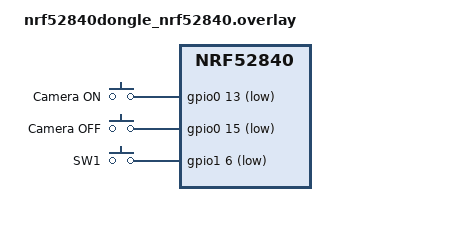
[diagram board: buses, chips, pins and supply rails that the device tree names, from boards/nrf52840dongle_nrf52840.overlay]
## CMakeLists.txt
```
cmake_minimum_required(VERSION 3.20.0)

find_package(Zephyr REQUIRED HINTS $ENV{ZEPHYR_BASE})
project(gopro_remote)

target_sources(app PRIVATE
	src/main.c
	src/ble_gopro.c
	src/ant_garmin.c
	src/temp_sensor.c
)
```

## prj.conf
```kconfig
# --- Bluetooth: CENTRAL role (we connect to the GoPro, we don't
#     advertise ourselves) ---
CONFIG_BT=y
CONFIG_BT_CENTRAL=y
CONFIG_BT_OBSERVER=y
CONFIG_BT_GATT_CLIENT=y
CONFIG_BT_SMP=y
#CONFIG_BT_LOG_LEVEL_DBG=y
#CONFIG_LOG_MODE_ASYNC=y

# Debug: turn silent __ASSERT_NO_MSG()/MPSL asserts into a real
# "ASSERTION FAIL @ file:line" message on the console instead of
# undefined behavior - see the bt_enable() hang investigation.
CONFIG_ASSERT=y

# Debug: hardware watchdog to auto-recover from (and confirm) a real
# CPU lockup in bt_enable(), plus hwinfo to log the reset cause.
CONFIG_WATCHDOG=y
#CONFIG_WDT_LOG_LEVEL_DBG=y
CONFIG_HWINFO=y

# Bonding (persistent pairing) - required to talk to the GoPro
CONFIG_BT_SIGNING=n
#CONFIG_BT_SETTINGS=y
CONFIG_FLASH=y
CONFIG_FLASH_PAGE_LAYOUT=y
CONFIG_FLASH_MAP=y
CONFIG_NVS=y
CONFIG_SETTINGS=y
CONFIG_BT_DEVICE_NAME="GoProRemote"
#CONFIG_BT_CENTRAL=y
#CONFIG_BT_SMP=y
CONFIG_BT_SMP_SC_PAIR_ONLY=n
#CONFIG_BT_SMP_LOG_LEVEL_DBG=y
CONFIG_BT_ID_UNPAIR_MATCHING_BONDS=y


#CONFIG_BT_HCI_CORE_LOG_LEVEL_DBG=y
#CONFIG_LOG_MODE_IMMEDIATE=y
#CONFIG_LOG_MODE_ASYNC=y

# Notify the app of the remote's LE feature set (populated from the
# Feature Exchange procedure - see connected()/remote_info_available()
# in ble_gopro.c) via the remote_info_available connection callback.
# Without this, the Feature Exchange still happens (it's mandatory LL
# behavior, handled entirely by the controller/host below any app
# code) but the result is silently discarded instead of reaching us.
CONFIG_BT_REMOTE_INFO=y

# d'apres Gemini :
#CONFIG_BT=y
#CONFIG_BT_CENTRAL=y
#CONFIG_BT_SMP=y
#CONFIG_BT_GATT_CLIENT=y
#CONFIG_BT_SMP_SC_PAIR_ONLY=n


# --- Only one BLE link active at a time: our GoPro ---
CONFIG_BT_MAX_CONN=1
CONFIG_BT_MAX_PAIRED=4

# --- GPIO (buttons) ---
CONFIG_GPIO=y

# --- ADC (thermistor / battery measurement later) ---
CONFIG_ADC=y

# --- Sensor subsystem (nRF52 internal die temperature) ---
CONFIG_SENSOR=y
CONFIG_TEMP_NRF5=y

# --- ANT+ (Garmin Edge temperature broadcast) ---
# Requires the sdk-ant add-on module in this workspace's west manifest
# (gated repo, ANT+ Adopter + GitHub org access needed - see
# doc/gopro_garmin_remote_specs.md, "ANT+ implementation notes"). Not
# fetchable from this dev sandbox (confirmed via `git ls-remote`, see
# ant_garmin.c) - add it to your own workspace manifest before building.


CONFIG_ANT=y
CONFIG_ANT_EVALUATION_KEY=y
# CONFIG_ANT_LIBRARY_CORE=y

# ANT+ Bicycle Speed and Cadence sensor bring-up (clone of the sdk-ant
# bsc_tx sample - see src/ant_garmin.c). These mirror the `select`s the
# sample does in its own Kconfig; needed here since this app has no such
# Kconfig. CONFIG_ANT_STATE_INDICATOR selects DK_LIBRARY (board LEDs).
CONFIG_ANT_BSC=y
CONFIG_ANT_BSC_SIMULATOR=y
CONFIG_ANT_KEY_MANAGER=y
CONFIG_ANT_CHANNEL_CONFIG=y
CONFIG_ANT_STATE_INDICATOR=y

# Free evaluation key: fine for prototyping/testing. Swap for
# CONFIG_ANT_LICENSE_KEY (paid, per-unit royalty) before shipping a
# commercial product - see the "Licensing & cost" section of the specs
# doc.
# CONFIG_ANT_EVALUATION_KEY=y

# --- Logs over the dongle's USB CDC-ACM port (handy for debugging) ---
#CONFIG_USB_DEVICE_STACK=y
CONFIG_USB_DEVICE_REMOTE_WAKEUP=n
CONFIG_USB_DEVICE_PRODUCT="My USB device"
CONFIG_USB_CDC_ACM=y
CONFIG_UART_LINE_CTRL=y
CONFIG_USB_DEVICE_PID=0x0001
#CONFIG_USB_CDC_ACM_LOG_LEVEL_OFF=y

CONFIG_LOG=y
# ant_garmin registers at LOG_LEVEL_DBG; CONFIG_LOG_MAX_LEVEL already
# defaults to 4 (DBG), so its DBG traces (RX page 0x02 bytes / caps,
# generic command TX) are emitted while every other module stays at the
# default INF level - no global DBG spam.

# --- Misc ---
CONFIG_MAIN_STACK_SIZE=4096
CONFIG_HEAP_MEM_POOL_SIZE=4096

CONFIG_SYSTEM_WORKQUEUE_STACK_SIZE=4096
CONFIG_MAIN_STACK_SIZE=4096
CONFIG_BT_RX_STACK_SIZE=2200
# Désactiver la Flash externe QSPI si non présente

CONFIG_MPU_ALLOW_FLASH_WRITE=y
# Désactiver la Flash externe QSPI si non présente
CONFIG_SPI=n
CONFIG_NORDIC_QSPI_NOR=n

# Forcer l'utilisation de la Flash Interne (Non-Volatile Storage)
CONFIG_SETTINGS_NVS=y
```

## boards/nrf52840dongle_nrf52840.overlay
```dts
/*
 * Overlay for nrf52840dongle_nrf52840 (PCA10059).
 *
 * IMPORTANT: the dongle only has ONE button wired at the factory (SW1,
 * used to enter DFU mode at boot) and an RGB LED - no extra user
 * buttons. For your 2 (then 5) buttons, you need to wire them yourself
 * on the castellated pads exposed on the edge of the board.
 *
 * The pins below (P0.13 and P0.15) are given as a common example used
 * in the nRF52840 Dongle community - CHECK THEM against the "Pin
 * assignment" section of the Nordic User Guide (nRF52840 Dongle,
 * PCA10059) before soldering anything, some pads are shared with the
 * USB D+/D- lines and MUST NOT be used as GPIO.
 */

/ {
	buttons {
		compatible = "gpio-keys";

		button_cam_on: button_cam_on {
			gpios = <&gpio0 13 (GPIO_PULL_UP | GPIO_ACTIVE_LOW)>;
			label = "Camera ON";
		};

		button_cam_off: button_cam_off {
			gpios = <&gpio0 15 (GPIO_PULL_UP | GPIO_ACTIVE_LOW)>;
			label = "Camera OFF";
		};
		/* BUTTON1 = SW1 = P1.06 (matches Zephyr's built-in sw0/button0 for this board) */
		button_sw1: button_sw1 {
			gpios = <&gpio1 6 (GPIO_PULL_UP | GPIO_ACTIVE_LOW)>;
			label = "SW1";
		};

		/* To add later, once the 3 Garmin buttons are wired:
		 * button_page_r, button_page_l, button_lap
		 */
	};

	aliases {
		sw-cam-on = &button_cam_on;
		sw-cam-off = &button_cam_off;
		sw1 = &button_sw1;
	};
};
```

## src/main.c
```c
/*
 * gopro_remote - bring-up firmware for the nRF52840 Dongle
 * ==========================================================
 *
 * This file owns the main finite-state machine: it wakes up on button
 * press, decides which action to run, and dispatches it to the
 * protocol-specific modules. It does not know about BLE or ANT+
 * internals - that logic lives in ble_gopro.[ch] (GoPro over BLE) and
 * ant_garmin.[ch] (Garmin Edge over ANT+, stub for now). temp_sensor.[ch]
 * provides the internal temperature reading; ant_garmin.c owns *when* to
 * read and broadcast it (a bounded, activity-triggered session - see
 * ant_garmin.h). main.c only reports "a button was pressed" via
 * ant_garmin_note_activity(), it does not manage the session itself.
 * This split keeps each radio protocol/sensor independently maintainable
 * and testable, and makes it straightforward to add a new module later
 * (e.g. a BLE peripheral "configuration service" for a companion mobile
 * app) without touching the others.
 *
 * What this firmware does (functional) :
 *   - Scans for and connects to a GoPro (filtering on the BLE service
 *     0xFEA6, advertised by Open GoPro compatible GoPros).
 *   - Performs bonding (secure pairing), required to talk to the
 *     GoPro. Keys are persisted to flash (CONFIG_SETTINGS), so
 *     subsequent connections won't need to re-pair.
 *   - Discovers the GP-0072/73 (Command/Response) and GP-0074/75
 *     (Query/Response) characteristics, subscribes to both.
 *   - Runs a small recording FSM (see the "Recording FSM" comment right
 *     above main()): "Camera ON"/"Camera OFF" (multi-button mode) or
 *     SW1 (mono-button toggle mode) drive it towards REC_ON/REC_OFF;
 *     the shutter=1/0 command is only sent on an actual on<->off
 *     transition, never repeated for an unchanged target, so it can't
 *     double-send the GoPro's confirmation beep. A ~1s status poll
 *     confirms the command took effect and also catches the camera
 *     being started/stopped manually (or disconnecting).
 *   - Buttons are debounced with a simple per-button cooldown.
 *
 * What this firmware does NOT do (to be added later) :
 *   - ANT+ (Garmin page right/left/lap buttons, and the temperature
 *     broadcast) : Nordic's Zephyr-based ANT+ add-on (`sdk-ant`) does
 *     support the nRF52832 used here (no chip change needed - see
 *     doc/gopro_garmin_remote_specs.md, "ANT+ implementation notes"),
 *     but getting ANT+ Adopter/GitHub access to the gated add-on repo
 *     and integrating its west workspace hasn't been done yet. Not
 *     included here. The Garmin buttons and the temperature broadcast
 *     are wired to stubs (see
 *     ant_garmin.c) in the meantime. The 3 Garmin buttons themselves
 *     are not wired to GPIOs/actions yet either (see README).
 *   - Fine-grained power management (System OFF between connections) :
 *     the dongle is USB-powered, so not critical for testing, but
 *     needs to be revisited for the final CR2032 version. Note this
 *     also now needs to account for the temperature broadcast session
 *     (see ant_garmin.h): while a session is active (up to
 *     TEMP_SESSION_DURATION_MIN minutes after the last button press),
 *     the MCU must wake periodically via its RTC/kernel timer to send
 *     a reading, so it cannot use full System OFF sleep during that
 *     window - only once the session ends does it go back to pure
 *     button-interrupt wake-up.
 *   - Battery voltage reading (ADC) : not wired on the bare dongle, to
 *     be added with the real enclosure. (Ambient temperature no longer
 *     needs a thermistor/ADC - see temp_sensor.c, which reads the
 *     nRF52's internal die temperature sensor instead.)
 *
 * Button GPIO pinout : see boards/nrf52840dongle_nrf52840.overlay
 */

#include <zephyr/kernel.h>
#include <zephyr/device.h>
#include <zephyr/devicetree.h>
#include <zephyr/drivers/gpio.h>
#include <zephyr/drivers/watchdog.h>
#include <zephyr/drivers/hwinfo.h>
#include <zephyr/logging/log.h>
#include <zephyr/settings/settings.h>

#include "ble_gopro.h"
#include "ant_garmin.h"
#include "temp_sensor.h"

//LOG_MODULE_REGISTER(gopro_remote, LOG_LEVEL_INF);
LOG_MODULE_REGISTER(gopro_remote, LOG_LEVEL_DBG);

/* -------------------------------------------------------------------
 * Buttons (gpio-keys via devicetree)
 * ------------------------------------------------------------------- */
#define BTN_CAM_ON_NODE  DT_ALIAS(sw_cam_on)
#define BTN_CAM_OFF_NODE DT_ALIAS(sw_cam_off)
#define BTN_SW1_NODE     DT_ALIAS(sw1)

/* Action queue processed outside of interrupt context. STATUS_TICK/
 * STATUS_RESULT are not button presses - see the status timer and
 * ble_gopro status callback further below - but they go through the
 * same queue so the FSM in main() stays single-threaded. */
enum rmt_event {
	EVENT_NONE = 0,
	EVENT_CAM_ON = 1,
	EVENT_CAM_OFF = 2,
	EVENT_BTN_SW1 = 3,
	EVENT_STATUS_TICK = 4,
	EVENT_STATUS_RES_CAM_ON = 5,
	EVENT_STATUS_RES_CAM_OFF = 6,
	EVENT_CAM_DISCOVERED = 7	, /* GoPro connected but not recording (e.g. just powered on) */
	EVENT_ANT_NEXT_PAGE = 8, /* SW1 short press -> ANT+ Controls "next page" (Menu Down) */
	EVENT_ANT_CUSTOM = 9,    /* SW1 long  press -> ANT+ Controls Custom (0x8000) */
};


 struct remote_msg {
        enum rmt_event action;
 };

K_MSGQ_DEFINE(action_msgq, sizeof(struct remote_msg), 8, 4);

/* -------------------------------------------------------------------
 * Buttons : ISR -> just posts an event to the queue, all the (BLE)
 * work happens in the main loop (normal thread).
 * ------------------------------------------------------------------- */



#define DEBOUNCE_MS 200
/* SW1 single-button: held >= LONG_PRESS_MS is a long press (Home),
 * otherwise a short press (next page). */
#define LONG_PRESS_MS 600
struct button {
	const struct gpio_dt_spec spec;
	enum rmt_event action;
	const char *name;
	struct gpio_callback cb;
	int64_t last_press_ms;
};

static   struct button btn_cam_on = {
	.spec = GPIO_DT_SPEC_GET(BTN_CAM_ON_NODE, gpios),
	.action = EVENT_CAM_ON,
	.name = "CAM_ON",
};
static  struct button btn_cam_off = {
	.spec = GPIO_DT_SPEC_GET(BTN_CAM_OFF_NODE, gpios),
	.action = EVENT_CAM_OFF,
	.name = "CAM_OFF",
};
static  struct button btn_sw1 = {
	.spec = GPIO_DT_SPEC_GET(BTN_SW1_NODE, gpios),
	.action = EVENT_BTN_SW1,
	.name = "SW1",
};

static void btn_isr(const struct device *dev, struct gpio_callback *cb, uint32_t pins)
{
	struct button *btn = CONTAINER_OF(cb, struct button, cb);
	int64_t now = k_uptime_get();

	if (now - btn->last_press_ms < DEBOUNCE_MS) {
		return; /* bounce (or a too-fast repeat press): ignore */
	}
	btn->last_press_ms = now;

	LOG_INF("Button %s pressed", btn->name);
	struct remote_msg msg = { .action = btn->action };

	k_msgq_put(&action_msgq, &msg, K_NO_WAIT);
}

/*
 * SW1 is the dongle's single user button. It needs short-vs-long press
 * discrimination:
 *   short press (< LONG_PRESS_MS) -> EVENT_ANT_NEXT_PAGE (Menu Down)
 *   long  press (>= LONG_PRESS_MS) -> EVENT_ANT_CUSTOM   (Custom 0x8000)
 *
 * Reading the pin level directly in the edge ISR is unreliable: contact
 * bounce produces bursts of edges, and a stray release edge used to clear
 * the press timestamp so the real release was dropped (long press missed).
 *
 * Instead the ISR only wakes a polling work item, which samples the button
 * every SW1_POLL_MS with a small debounce filter. The long press is emitted
 * as soon as the hold crosses LONG_PRESS_MS (even if the release bounces),
 * and the short press is emitted on a clean release. The ANT+ command is
 * sent from the main loop, not here.
 */
#define SW1_POLL_MS        20
#define SW1_STABLE_SAMPLES 2  /* consecutive equal reads to accept a level */

static void sw1_work_fn(struct k_work *work);
static K_WORK_DELAYABLE_DEFINE(sw1_work, sw1_work_fn);

static bool    sw1_down;        /* debounced pressed state */
static bool    sw1_long_fired;  /* HOME already emitted for this hold */
static int64_t sw1_down_ms;     /* uptime at debounced press */
static bool    sw1_raw_last;    /* last raw sample */
static int     sw1_stable_cnt;  /* consecutive equal raw samples */

static void sw1_post(enum rmt_event ev)
{
	struct remote_msg msg = { .action = ev };
	k_msgq_put(&action_msgq, &msg, K_NO_WAIT);
}

static void sw1_work_fn(struct k_work *work)
{
	ARG_UNUSED(work);
	bool raw = (gpio_pin_get_dt(&btn_sw1.spec) == 1); /* 1 = pressed */

	/* Debounce: require SW1_STABLE_SAMPLES equal raw reads in a row. */
	if (raw == sw1_raw_last) {
		if (sw1_stable_cnt < SW1_STABLE_SAMPLES) {
			sw1_stable_cnt++;
		}
	} else {
		sw1_raw_last = raw;
		sw1_stable_cnt = 0;
	}

	if (sw1_stable_cnt >= SW1_STABLE_SAMPLES && raw != sw1_down) {
		sw1_down = raw; /* debounced edge */
		if (sw1_down) {
			sw1_down_ms = k_uptime_get();
			sw1_long_fired = false;
		} else if (!sw1_long_fired) {
			sw1_post(EVENT_ANT_NEXT_PAGE); /* clean short release */
		}
	}

	/* Long press fires at the threshold, while still held. */
	if (sw1_down && !sw1_long_fired &&
	    (k_uptime_get() - sw1_down_ms) >= LONG_PRESS_MS) {
		sw1_long_fired = true;
		sw1_post(EVENT_ANT_CUSTOM);
	}

	/* Keep polling while pressed or not yet settled in the released state. */
	if (sw1_down || raw || sw1_stable_cnt < SW1_STABLE_SAMPLES) {
		k_work_schedule(&sw1_work, K_MSEC(SW1_POLL_MS));
	}
}

static void sw1_isr(const struct device *dev, struct gpio_callback *cb, uint32_t pins)
{
	ARG_UNUSED(dev);
	ARG_UNUSED(cb);
	ARG_UNUSED(pins);
	/* Just wake the poller; all logic lives in sw1_work_fn. */
	k_work_schedule(&sw1_work, K_NO_WAIT);
}

static int setup_sw1_button(void)
{
	int err;

	if (!gpio_is_ready_dt(&btn_sw1.spec)) {
		LOG_ERR("Button %s GPIO not ready", btn_sw1.name);
		return -ENODEV;
	}

	err = gpio_pin_configure_dt(&btn_sw1.spec, GPIO_INPUT);
	err |= gpio_pin_interrupt_configure_dt(&btn_sw1.spec, GPIO_INT_EDGE_BOTH);
	if (err) {
		LOG_ERR("Button %s GPIO configuration failed (%d)", btn_sw1.name, err);
		return err;
	}

	gpio_init_callback(&btn_sw1.cb, sw1_isr, BIT(btn_sw1.spec.pin));
	gpio_add_callback(btn_sw1.spec.port, &btn_sw1.cb);
	return 0;
}

static int setup_one_button( struct button *btn)
{
	int err;

	if (!gpio_is_ready_dt(&btn->spec)) {
		LOG_ERR("Button %s GPIO not ready", btn->name);
		return -ENODEV;
	}

	err = gpio_pin_configure_dt(&btn->spec, GPIO_INPUT);
	err |= gpio_pin_interrupt_configure_dt(&btn->spec, GPIO_INT_EDGE_TO_ACTIVE);
	if (err) {
		LOG_ERR("Button %s GPIO configuration failed (%d)", btn->name, err);
		return err;
	}

	gpio_init_callback(&btn->cb, btn_isr, BIT(btn->spec.pin));
	gpio_add_callback(btn->spec.port, &btn->cb);
	return 0;
}



static int setup_buttons(void)
{
	int err  = 0;
	err |= setup_one_button(&btn_cam_on);
	err |= setup_one_button(&btn_cam_off);
	err |= setup_sw1_button(); /* SW1: short/long press -> ANT+ commands */
	return err;
}

/* -------------------------------------------------------------------
 * ~1s status poll timer and ble_gopro status callback: both just post
 * to the action queue, all the FSM logic lives in main()'s loop below.
 * k_timer expiry and the BT RX thread are not the main thread, so this
 * is all they're allowed to do.
 * ------------------------------------------------------------------- */


static void status_timer_handler(struct k_timer *timer)
{
	struct remote_msg msg = { .action = EVENT_STATUS_TICK };
	//LOG_DBG("TTT isr");
	k_msgq_put(&action_msgq, &msg, K_NO_WAIT);
}


K_TIMER_DEFINE(status_timer, status_timer_handler, NULL);

static void on_gopro_status(enum gopro_rec_state status)
{
	LOG_DBG("on_gopro_status: status=%d", status);
	struct remote_msg msg = { 0 };
	switch (status) {
		case GOPRO_REC_STARTED:
			msg.action = EVENT_STATUS_RES_CAM_ON;
			break;
		case GOPRO_REC_STOPPED:
			msg.action = EVENT_STATUS_RES_CAM_OFF;
			break;
		case GOPRO_REC_DISCOVERED:
			msg.action = EVENT_CAM_DISCOVERED;
			break;
		case GOPRO_REC_UNKNOWN:
			LOG_DBG("on_gopro_status: GOPRO_REC_UNKNOWN - ignoring");
			return;
		default:
			LOG_ERR("on_gopro_status: unknown status %d", status);
			return;
	}
	k_msgq_put(&action_msgq, &msg, K_NO_WAIT);
}

/*
 * Recording FSM states (the whole FSM lives in main()'s loop below):
 *   REC_OFF      - not recording, idle.
 *   REC_ON_SENT  - "start recording" sent, waiting for the camera to
 *                  confirm it (via the ~1s status poll).
 *   REC_ON       - camera confirmed it is recording.
 *   REC_OFF_SENT - "stop recording" sent, waiting for confirmation.
 * No other state is needed: ON_SENT/OFF_SENT only exist to remember
 * "a command is outstanding" so a same-direction button press can be
 * ignored (that's what stops the BLE "start recording" command from
 * ever being sent twice in a row, which is what makes the camera beep
 * an extra time) - REC_ON/REC_ON_SENT together mean "target: on",
 * REC_OFF/REC_OFF_SENT together mean "target: off".
 */
enum rec_state {
	REC_UNKNOWN = 0,
	REC_OFF,
	REC_ON_SENT,
	REC_ON,
	REC_OFF_SENT,
};

/* from blinky */


/* 1000 msec = 1 sec */
#define SLEEP_TIME_MS   1000

/* The devicetree node identifier for the "led0" alias. */
#define LED0_NODE DT_ALIAS(led0)

/*
 * A build error on this line means your board is unsupported.
 * See the sample documentation for information on how to fix this.
 */
static const struct gpio_dt_spec led = GPIO_DT_SPEC_GET(LED0_NODE, gpios);

/* Hardware watchdog: an independent peripheral that keeps counting
 * down even if the CPU truly locks up (fault-in-fault, IRQs wedged
 * off, etc.) - the one thing that can still recover us and tell us
 * something when even the fatal-error handler can't print anything.
 * Armed with a long window, then deliberately NOT fed across the
 * ble_gopro_init()/bt_enable() call: if that call locks up, the
 * watchdog fires on its own a few seconds later and resets the chip. */
static const struct device *const wdt = DEVICE_DT_GET(DT_ALIAS(watchdog0));
static int wdt_channel_id = -1;

static void log_reset_cause(void)
{
	uint32_t cause = 0;

	if (hwinfo_get_reset_cause(&cause) == 0) {
		LOG_INF("Reset cause: 0x%08x%s", cause,
			(cause & RESET_WATCHDOG) ? " <-- WATCHDOG: previous boot locked up here!" : "");
		hwinfo_clear_reset_cause();
	} else {
		LOG_WRN("hwinfo_get_reset_cause() failed");
	}
}

static void watchdog_arm(void)
{
	if (!device_is_ready(wdt)) {
		LOG_WRN("Watchdog device not ready - no lockup recovery this run");
		return;
	}

	struct wdt_timeout_cfg wdt_cfg = {
		.window.min = 0,
		.window.max = 5000, /* must be fed at least every 5s */
		.callback = NULL,
		.flags = WDT_FLAG_RESET_SOC,
	};

	wdt_channel_id = wdt_install_timeout(wdt, &wdt_cfg);
	if (wdt_channel_id < 0) {
		LOG_ERR("wdt_install_timeout() failed (%d)", wdt_channel_id);
		return;
	}
	if (wdt_setup(wdt, 0) != 0) {
		LOG_ERR("wdt_setup() failed");
		wdt_channel_id = -1;
	}
}

static void watchdog_feed(void)
{
	if (wdt_channel_id >= 0) {
		wdt_feed(wdt, wdt_channel_id);
	}
}

/* Heartbeat: fast LED toggle while a blocking init call (e.g.
 * ble_gopro_init()/bt_enable()) is in progress. No debugger/console
 * available on the bare dongle, so this is how we tell "it's still
 * alive and hasn't returned yet" from "it froze/hard-faulted right
 * here": if this stops toggling and NEVER resumes (no fatal() blink
 * pattern ever starts either), the crash happened inside that call. */
static void heartbeat_handler(struct k_timer *timer)
{
	gpio_pin_toggle_dt(&led);
}
K_TIMER_DEFINE(heartbeat_timer, heartbeat_handler, NULL);

/* Halts and blinks the LED abs(code) times (capped), pausing between
 * repeats, so the code can be read off by counting blinks - no
 * debugger/console needed. Distinguishable from the heartbeat above
 * because of the long pause between bursts. */
static void fatal(int code)
{
	LOG_ERR("Fatal error %d - halting", code);

	int blinks = code < 0 ? -code : code;
	if (blinks == 0) {
		blinks = 1;
	}
	if (blinks > 20) {
		blinks = 20;
	}

	while (1) {
		for (int i = 0; i < blinks; i++) {
			watchdog_feed(); /* fatal() is a deliberate halt, not a
					   * real lockup - don't let the watchdog
					   * reset us out of it. */
			gpio_pin_set_dt(&led, 1);
			k_msleep(200);
			gpio_pin_set_dt(&led, 0);
			k_msleep(200);
		}
		k_msleep(1500);
	}
}
/* -------------------------------------------------------------------
 * main - button/action finite-state machine
 * ------------------------------------------------------------------- */
int main(void)
{
	int err;

	log_reset_cause();

	LOG_INF("=== GoPro Remote (nRF52840 Dongle) - starting ===");

	if (!gpio_is_ready_dt(&led)) {
		LOG_ERR("LED GPIO not ready");
		fatal(1);
	}
	err = gpio_pin_configure_dt(&led, GPIO_OUTPUT_INACTIVE);
	if (err < 0) {
		LOG_ERR("LED GPIO configuration failed (%d)", err);
		fatal(2);
	}

	if ((0)) watchdog_arm();

	/* LED toggles here independently of LOG_INF, so it keeps proving
	 * the CPU is alive even if the console/USB link itself stalls
	 * (e.g. CDC ACM backpressure) and stops printing. */
	const int startup_blink_count = 2;	
	for (int i=0; i<startup_blink_count; i++) {
		watchdog_feed();
		gpio_pin_toggle_dt(&led);
		LOG_INF("=== GoPro Remote (nRF52840 Dongle) - starting (%d/%d) ***", i, startup_blink_count);
		k_msleep(1000);
	}
	LOG_INF("compile date: %s", __DATE__);


	
	LOG_INF("=== config BLE---->");

/*
	err = settings_subsys_init();
	if (err) {
		LOG_ERR("settings_subsys_init() failed (%d)", err);
		fatal(err);
	}
*/	
	watchdog_feed(); /* last feed before the risky call - deliberately
			   * not fed again until it returns, so a lockup in
			   * here forces a watchdog reset within ~5s. */
	k_timer_start(&heartbeat_timer, K_MSEC(150), K_MSEC(150));
	err = ble_gopro_init();
	LOG_INF("=== config BLE done, err=%d", err);

	k_timer_stop(&heartbeat_timer);
	watchdog_feed();

	if (err) {
		LOG_ERR("ble_gopro_init() failed (%d)", err);
		fatal(err);
	}
	//fatal(420);

	err = setup_buttons();
	if (err) {
		LOG_ERR("Aborting: buttons not functional");
		fatal(3);
	}
	LOG_INF("**** ANT init");
	ant_garmin_init();

	LOG_INF("**** temp_sensor init");

	err = temp_sensor_init();
	if (err) {
		LOG_WRN("Internal temperature sensor unavailable (%d)", err);
	}
	LOG_INF("**** ANT init done");


	ble_gopro_set_status_cb(on_gopro_status);
	//k_timer_init(&status_timer, status_timer_handler, NULL);
	//LOG_DBG("TTT Starting status timer (1s period)");
	//k_timer_start(&status_timer, K_SECONDS(1), K_SECONDS(1));

	enum rec_state rec_state = REC_UNKNOWN; /* start unknown, will be set by the first status poll */
	bool status_query_sent = false; /* at most one status query outstanding */

	/* Main loop: wait for a button/status action and run the
	 * recording FSM. Each protocol module (ble_gopro, ant_garmin)
	 * manages its own connection/reconnection state internally. */
	struct remote_msg msg;
	while (1) {
		gpio_pin_toggle_dt(&led);

		k_msgq_get(&action_msgq, &msg, K_FOREVER);

		enum rmt_event action = msg.action;

		if (EVENT_BTN_SW1 == action) {
			switch (rec_state) {
				case REC_UNKNOWN:	//FALLTHRU
				case REC_ON_SENT:	//FALLTHRU
				case REC_OFF_SENT:	//FALLTHRU
				default:
					/* ignore button presses until we know the camera's state (via the status poll) */
					break;
				case REC_OFF:
					action = EVENT_CAM_ON;
					break;	
				case REC_ON:
					action = EVENT_CAM_OFF;
					break;
			}
		}
		LOG_DBG("FSM: event %d, rec_state %d", action, rec_state);
		switch (action) {
		case EVENT_CAM_DISCOVERED:
			LOG_INF("======= GoPro discovered (GOPRO_REC_DISCOVERED)");
			switch (rec_state) {
				case REC_UNKNOWN:
					if ((0)) {
						LOG_DBG("CAM_DISCOVERED in REC_UNKNOWN: start status ble_gopro_query_status()");
						status_query_sent = true;
						ble_gopro_query_status();
					} else {
						LOG_DBG("CAM_DISCOVERED in REC_UNKNOWN");
					}
					k_timer_start(&status_timer, K_SECONDS(1), K_SECONDS(1));
					break;
				default:
					LOG_WRN("CAM_DISCOVERED while in state %d: ignore", rec_state);
					break;
			}	
			break;
		case EVENT_CAM_ON:
			switch (rec_state) {
				case REC_OFF_SENT:
					k_timer_stop(&status_timer);
					status_query_sent = false; /* poll right away next tick */
					//FALLTHRU
				case REC_OFF:
					ble_gopro_send_shutter(true);
					rec_state = REC_ON_SENT;
					status_query_sent = false; /* poll right away next tick */
					k_timer_start(&status_timer, K_SECONDS(1), K_SECONDS(1));
					break;
				
				default:
					// ignore button in any other states
					LOG_INF("BAD STATE FOR CAM_ON: %d -> REC_ON_SENT", rec_state);
					break;
			}
			break;

		case EVENT_CAM_OFF:
			switch (rec_state) {
			case REC_ON_SENT:
					k_timer_stop(&status_timer);
					status_query_sent = false; /* poll right away next tick */
					//FALLTHRU
				case REC_ON:
					ble_gopro_send_shutter(false);
					rec_state = REC_OFF_SENT;
					status_query_sent = false; /* poll right away next tick */
					k_timer_start(&status_timer, K_SECONDS(1), K_SECONDS(1));
					break;
				default:
					// ignore button in any other states
					LOG_INF("BAD STATE FOR CAM_OFF: %d -> REC_OFF_SENT", rec_state);
					break;
			}
			break;
		case EVENT_STATUS_TICK:
			if (rec_state == REC_OFF) {
				LOG_ERR("STATUS_TICK while REC_OFF: shouldn't have polled, stopping timer");	
				k_timer_stop(&status_timer);
				break;
			}
				
			if (!status_query_sent) {
				LOG_DBG("STATUS_TICK: sending status ble_gopro_query_status()");
				ble_gopro_query_status();
				status_query_sent = true;
			} else if (rec_state == REC_UNKNOWN	) {
				LOG_DBG("STATUS_TICK while REC_UNKNOWN ignoring status_query_sent=%d", status_query_sent);
				status_query_sent = true;
				ble_gopro_query_status();
			} else {
				LOG_DBG("STATUS_TICK while status_query_sent: ignore");
			}
			break;
		case EVENT_STATUS_RES_CAM_ON:
			if (!status_query_sent) {
				LOG_ERR("STATUS_RES_CAM_ON while !status_query_sent: ignore ressponse");
				//k_timer_stop(&status_timer);
				break;
			}
			switch(rec_state) {
				case REC_UNKNOWN:
					LOG_DBG("STATUS_RES_CAM_ON while REC_UNKNOWN: set to REC_ON");
					rec_state = REC_ON;
					break;
				case REC_ON_SENT:
					rec_state = REC_ON;
					break;
				case REC_OFF_SENT:
					LOG_ERR("STATUS_RES_CAM_ON while REC_OFF_SENT");
					break;
				default:
					LOG_ERR("STATUS_RES_CAM_ON while in state %d: shouldn't have polled, stopping timer", rec_state);
					k_timer_stop(&status_timer);
					break;
			}
	
		case EVENT_STATUS_RES_CAM_OFF:
			if (!status_query_sent) {
				LOG_ERR("STATUS_RES_CAM_OFF while !status_query_sent: ignore ressponse");
				//k_timer_stop(&status_timer);
				break;
			}			
			switch(rec_state) {
				case REC_UNKNOWN:
					LOG_DBG("STATUS_RES_CAM_OFF while REC_UNKNOWN: set to REC_OFF");
					rec_state = REC_OFF;
					k_timer_stop(&status_timer);
					break;
				case REC_OFF_SENT:
					rec_state = REC_OFF;
					k_timer_stop(&status_timer);
					break;
				case REC_ON_SENT:
					LOG_ERR("STATUS_RES_CAM_OFF while REC_ON_SENT");
					break;
				default:
					LOG_ERR("STATUS_RES_CAM_OFF while in state %d: shouldn't have polled, stopping timer", rec_state);
					k_timer_stop(&status_timer);
					break;
			}
			break;
		case EVENT_ANT_NEXT_PAGE:
			LOG_INF("SW1 short press -> ANT+ next page");
			ant_garmin_note_activity();
			ant_garmin_handle_button("next_page");
			break;
		case EVENT_ANT_CUSTOM:
			LOG_INF("SW1 long press -> ANT+ custom (0x8000)");
			ant_garmin_note_activity();
			ant_garmin_handle_button("custom");
			break;
		default:
			LOG_ERR("Unknown event %d", msg.action);
			break;
		}
	}

	return 0;
}
```

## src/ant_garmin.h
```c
/*
 * ant_garmin - ANT+ driver (bring-up base)
 * ==========================================================================
 * The ANT profile is selected at compile time by ANT_GARMIN_PROFILE in
 * ant_garmin.c (default: VIRB):
 *
 *   ANT_GARMIN_PROFILE_VIRB (1, default) - ANT+ *Controls* device (type 16)
 *     master. Broadcasts and is detected as a controllable device (VIRB-like).
 *     Current working bring-up target.
 *
 *   ANT_GARMIN_PROFILE_THERMO (2) - ANT+ *Environment* profile (type 25):
 *     broadcasts the nRF52 internal die temperature (via temp_sensor.h).
 *
 *   ANT_GARMIN_PROFILE_REMOTE (3) - the real Garmin Edge Remote behaviour.
 *     ANT+ Controls *control device* = SLAVE: searches for the Edge (master,
 *     device type 16) with a wildcard device number, receives its Control
 *     Device Availability page (0x02), and sends the Generic Command page
 *     (0x49 / 73) on a button press via ant_garmin_handle_button().
 *
 *   ANT_GARMIN_PROFILE_BSC (0) - clone of the sdk-ant bsc_tx sample (Bicycle
 *     Speed & Cadence sensor). Known-good reference transmitter.
 *
 * All profiles expose their setup through ant_garmin_init(), since main.c
 * owns the real main() and only calls into this module.
 *
 * Build requirements (prj.conf): CONFIG_ANT, CONFIG_ANT_EVALUATION_KEY,
 * CONFIG_ANT_CHANNEL_CONFIG, CONFIG_ANT_KEY_MANAGER, CONFIG_ANT_STATE_INDICATOR
 * (+ CONFIG_ANT_BSC / CONFIG_ANT_BSC_SIMULATOR for the BSC reference profile).
 * Needs the gated sdk-ant add-on module in the west workspace.
 */
#ifndef ANT_GARMIN_H_
#define ANT_GARMIN_H_

/*
 * Brings up the ANT stack and opens the ANT+ BSC sensor channel (clone of
 * the bsc_tx sample). Called once from main(). On fatal setup failure it
 * signals the ANT state indicator and halts (k_oops()), like the sample.
 */
void ant_garmin_init(void);

/*
 * Handles a Garmin button press ("page_right", "page_left" or "lap").
 * In the REMOTE profile this sends the matching ANT+ Controls Generic
 * Command (page 0x49) to the paired Edge. In other profiles it is a stub
 * that logs a warning. Kept so the module API is stable for main.c.
 */
void ant_garmin_handle_button(const char *which);

/*
 * Notifies the module that a button was pressed. No-op in this bring-up base
 * (the activity-gated temperature session is deferred); logs at debug level.
 */
void ant_garmin_note_activity(void);

#endif /* ANT_GARMIN_H_ */
```

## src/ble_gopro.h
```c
/*
 * ble_gopro - BLE central role driver for the GoPro (Open GoPro API)
 * ====================================================================
 * Owns everything Bluetooth-related for talking to the GoPro: enabling
 * the BT stack, bonding, scanning/connecting, GATT discovery and
 * command/notification handling. The main FSM (main.c) only calls the
 * functions below and never touches Bluetooth APIs directly - this
 * keeps the GoPro/BLE protocol details isolated from button/state
 * handling and from the ANT+/Garmin side (see ant_garmin.h).
 */
#ifndef BLE_GOPRO_H_
#define BLE_GOPRO_H_

#include <stdbool.h>

/*
 * Actual recording state as last reported by the GoPro itself (via the
 * status query below), as opposed to what we last *asked* it to do.
 * GOPRO_REC_UNKNOWN covers "not connected yet" / "no status received
 * yet" / "just disconnected".
 */
enum gopro_rec_state {
	GOPRO_REC_UNKNOWN = 0,
	GOPRO_REC_STOPPED,
	GOPRO_REC_STARTED,
	GOPRO_REC_DISCOVERED, /* not recording but still connected (e.g. just powered on) */
};

/*
 * Invoked (from the BT RX thread, not an ISR) whenever the recording
 * state reported by the GoPro becomes known/changes: on disconnect
 * (-> GOPRO_REC_UNKNOWN) and whenever a status query response is
 * parsed (-> GOPRO_REC_STARTED/STOPPED). At most one callback is kept
 * registered.
 */
typedef void (*ble_gopro_status_cb_t)(enum gopro_rec_state state);
void ble_gopro_set_status_cb(ble_gopro_status_cb_t cb);

/*
 * Enables the Bluetooth stack, reloads bonding keys from flash,
 * registers the pairing/authentication callbacks and starts scanning
 * for a GoPro. Reconnection after a disconnect is handled internally
 * (no polling required from the caller).
 *
 * Returns 0 on success, a negative errno on failure.
 */
int ble_gopro_init(void);

/*
 * Sends the shutter start/stop command to the currently connected and
 * ready GoPro. No-op (logs a warning) if no GoPro is connected yet.
 * Fire-and-forget: whether it actually took effect is only known once
 * ble_gopro_query_status() gets a response (see status callback above).
 */
void ble_gopro_send_shutter(bool on);

/*
 * Asks the GoPro for its current status (encoding/recording state
 * among others). Result arrives asynchronously via the status
 * callback. No-op (logs a warning) if no GoPro is connected yet -
 * the caller can call this unconditionally on a timer regardless of
 * connection state.
 */
void ble_gopro_query_status(void);

#endif /* BLE_GOPRO_H_ */
```

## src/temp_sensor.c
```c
/*
 * NOTE: like the rest of this firmware, this has not been built/tested
 * against a real nRF Connect SDK checkout in this environment (see
 * software/gopro_remote_fw/README.md). This follows Zephyr's standard
 * sensor API for the nRF52's SoC-internal die temperature sensor
 * (devicetree node compatible "nordic,nrf-temp", driver enabled via
 * CONFIG_SENSOR=y). Double-check the exact devicetree node label and
 * Kconfig symbols against the nRF Connect SDK version you build with -
 * they were not verified against a real build here.
 */
#include "temp_sensor.h"

#include <zephyr/device.h>
#include <zephyr/drivers/sensor.h>
#include <zephyr/logging/log.h>

LOG_MODULE_REGISTER(temp_sensor, LOG_LEVEL_INF);

#define TEMP_SENSOR_NODE DT_NODELABEL(temp)

static const struct device *const temp_dev =
	DEVICE_DT_GET_OR_NULL(TEMP_SENSOR_NODE);

int temp_sensor_init(void)
{
	LOG_INF("Initializing internal temperature sensor...");
	if (temp_dev == NULL || !device_is_ready(temp_dev)) {
		LOG_ERR("Internal temperature sensor device not ready");
		return -ENODEV;
	}
	return 0;
}

bool temp_sensor_read(int16_t *out_temp_centi)
{
	struct sensor_value val;

	if (temp_dev == NULL) {
		return false;
	}

	if (sensor_sample_fetch(temp_dev) < 0) {
		LOG_WRN("Failed to fetch temperature sample");
		return false;
	}
	if (sensor_channel_get(temp_dev, SENSOR_CHAN_DIE_TEMP, &val) < 0) {
		LOG_WRN("Failed to read temperature channel");
		return false;
	}

	*out_temp_centi = (int16_t)(val.val1 * 100 + val.val2 / 10000);
	LOG_INF("Die temperature: %d.%02d C", val.val1,
		val.val2 < 0 ? -val.val2 / 10000 : val.val2 / 10000);
	return true;
}
```

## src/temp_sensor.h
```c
/*
 * temp_sensor - reads the nRF52's internal die temperature sensor
 * ======================================================================
 * Wraps the SoC's built-in TEMP peripheral (no external thermistor
 * needed) behind a small, protocol-agnostic interface. Its output is
 * meant to be broadcast over ANT+ by ant_garmin_send_temperature() -
 * this module only knows how to read the sensor, not how it is
 * transmitted, per the project's modularity requirement (see
 * doc/gopro_garmin_remote_specs.md, "Maintainability & modularity").
 *
 * Note: measures the chip's die temperature, not true free-air ambient
 * temperature - expect an offset from self-heating/enclosure. See the
 * "Internal temperature sensor" section of the specs doc for details.
 */
#ifndef TEMP_SENSOR_H_
#define TEMP_SENSOR_H_

#include <stdbool.h>
#include <stdint.h>

/*
 * Initializes the internal temperature sensor device. Returns 0 on
 * success, a negative errno if the sensor device isn't available.
 */
int temp_sensor_init(void);

/*
 * Reads the current die temperature, in hundredths of a degree Celsius
 * (e.g. 2153 means 21.53 C). Returns true and writes *out_temp_centi on
 * success, false on read failure.
 */
bool temp_sensor_read(int16_t *out_temp_centi);

#endif /* TEMP_SENSOR_H_ */
```
